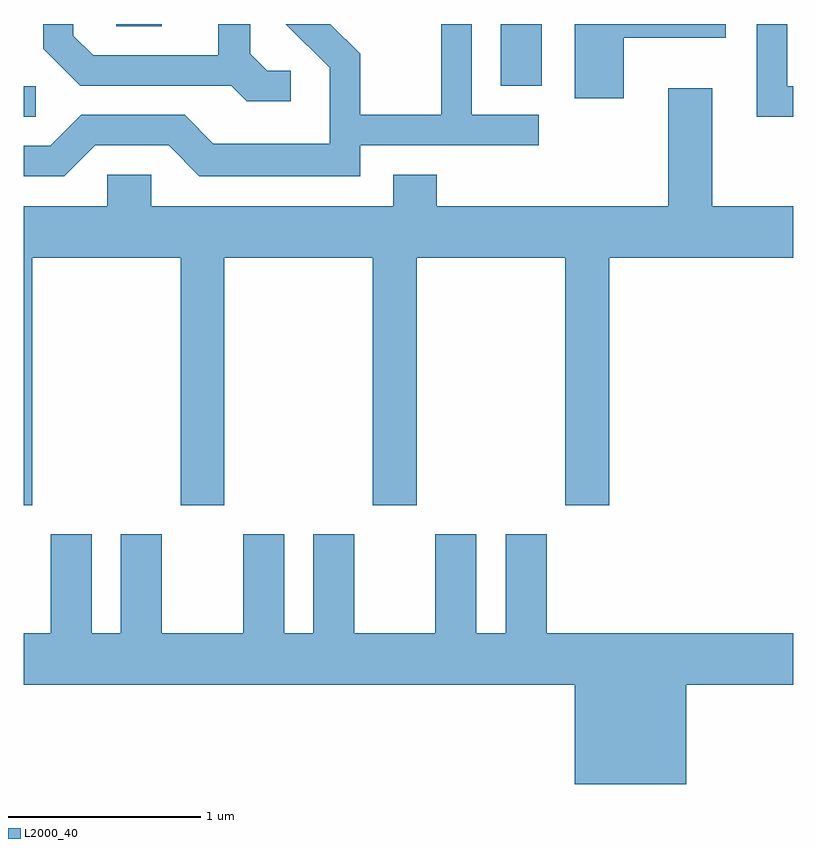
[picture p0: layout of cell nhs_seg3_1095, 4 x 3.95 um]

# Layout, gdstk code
import gdstk
lib = gdstk.Library(unit=1e-6, precision=1e-09)
def R(c, l, rs):  # rectangles x0, y0, x1, y1
    for r in rs: c.add(gdstk.rectangle(r[:2], r[2:], *l))
def P(c, l, *ps):  # polygons
    for p in ps: c.add(gdstk.Polygon(p, *l))
L2000_40 = (2000, 40)

nhs_seg3_1095 = lib.new_cell('nhs_seg3_1095')
R(nhs_seg3_1095, L2000_40, [(217.611,1133.411,217.673,1133.569), (220.091,1133.571,220.304,1133.892), (218.091,1133.881,218.329,1133.892)])
P(nhs_seg3_1095, L2000_40, [(217.982,1133.261),(218.364,1133.261),(218.524,1133.101),(219.359,1133.101),(219.359,1133.261),(220.288,1133.261),(220.288,1133.419),(219.939,1133.419),(219.939,1133.892),(219.781,1133.892),(219.781,1133.419),(219.359,1133.419),(219.359,1133.737),(219.204,1133.892),(218.973,1133.892),(219.201,1133.664),(219.201,1133.269),(218.597,1133.269),(218.447,1133.419),(217.909,1133.419),(217.749,1133.259),(217.611,1133.259),(217.611,1133.101),(217.822,1133.101)],
  [(220.729,1133.821),(221.259,1133.821),(221.259,1133.892),(220.476,1133.892),(220.476,1133.506),(220.729,1133.506)],
  [(221.611,1133.569),(221.579,1133.569),(221.579,1133.892),(221.421,1133.892),(221.421,1133.411),(221.611,1133.411)],
  [(218.998,1133.649),(218.877,1133.649),(218.789,1133.737),(218.789,1133.892),(218.621,1133.892),(218.621,1133.729),(217.972,1133.729),(217.869,1133.832),(217.869,1133.892),(217.711,1133.892),(217.711,1133.764),(217.904,1133.571),(218.689,1133.571),(218.769,1133.491),(218.998,1133.491)],
  [(217.654,1132.676),(218.426,1132.676),(218.426,1131.391),(218.654,1131.391),(218.654,1132.676),(219.426,1132.676),(219.426,1131.391),(219.654,1131.391),(219.654,1132.676),(220.426,1132.676),(220.426,1131.391),(220.654,1131.391),(220.654,1132.676),(221.611,1132.676),(221.611,1132.944),(221.189,1132.944),(221.189,1133.559),(220.961,1133.559),(220.961,1132.944),(219.759,1132.944),(219.759,1133.109),(219.531,1133.109),(219.531,1132.944),(218.274,1132.944),(218.274,1133.109),(218.046,1133.109),(218.046,1132.944),(217.611,1132.944),(217.611,1131.391),(217.654,1131.391)],
  [(221.054,1130.456),(221.611,1130.456),(221.611,1130.724),(220.329,1130.724),(220.329,1131.239),(220.116,1131.239),(220.116,1130.724),(219.964,1130.724),(219.964,1131.239),(219.751,1131.239),(219.751,1130.724),(219.329,1130.724),(219.329,1131.239),(219.116,1131.239),(219.116,1130.724),(218.964,1130.724),(218.964,1131.239),(218.751,1131.239),(218.751,1130.724),(218.329,1130.724),(218.329,1131.239),(218.116,1131.239),(218.116,1130.724),(217.964,1130.724),(217.964,1131.239),(217.751,1131.239),(217.751,1130.724),(217.611,1130.724),(217.611,1130.456),(220.476,1130.456),(220.476,1129.941),(221.054,1129.941)])

lib.write_gds('nhs_seg3_1095.gds')
